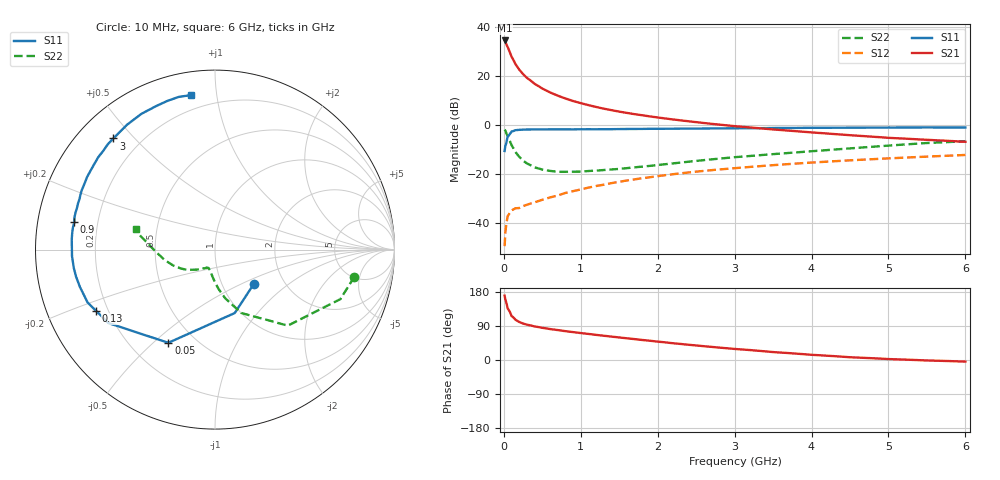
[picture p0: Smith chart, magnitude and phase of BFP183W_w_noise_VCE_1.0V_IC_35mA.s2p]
! Infineon Technologies  Discrete & RF Semiconductors
! BFP183W
! VCE =  1.0 V,  IC =  35 mA
! Common Emitter S-Parameters:  Jan 2017
# GHz  S  MA  R  50
!  f  S11  S21  S12  S22
! GHz  MAG  ANG  MAG  ANG  MAG  ANG  MAG  ANG
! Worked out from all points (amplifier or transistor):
!   77 points, 10 MHz to 6 GHz, reference 50 ohm
!   highest |S21| = 34.3 dB at 10 MHz (marker M1)
!   |S21| within 3 dB of that: start of sweep to 53.97 MHz
!   unconditionally stable (mu >= 1): 378.8 MHz to end of sweep
!   at 130 MHz: K = 0.49, MSG = 30.3 dB, |S12| = -34.5 dB
!   at 2.2 GHz: K = 1.34, MAG = 7.7 dB, |S12| = -20.3 dB
!   at 6 GHz: K = 1.17, MAG = 0.2 dB, |S12| = -12.4 dB
!   lowest NFmin = 1.51 dB at 450 MHz
!   S11 on the Smith chart (normalised r, x): 10 MHz: 1.40, -0.59; 50 MHz: 0.36, -0.56; 130 MHz: 0.15, -0.24; 900 MHz: 0.11, +0.10; 3 GHz: 0.10, +0.44; 6 GHz: 0.12, +0.85
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0.01  0.2893 -42.1  52.13 169.9  0.0033 77.6  0.7912 -11.0
0.02  0.3702 -72.7  49.35 159.2  0.0064 74.0  0.751 -21.6
0.05  0.5806 -116.6  38.13 136.0  0.0136 53.8  0.5867 -46.2
0.1  0.7211 -145.4  24.37 115.9  0.0176 41.8  0.3818 -67.6
0.13  0.7455 -152.8  20.05 111.0  0.0188 38.5  0.3173 -73.1
0.15  0.7683 -157.4  17.29 106.4  0.0196 36.5  0.2765 -78.2
0.2  0.7807 -164.5  13.24 100.4  0.0198 38.0  0.2204 -84.8
0.25  0.7888 -169.1  10.72 96.2  0.0217 40.4  0.1838 -89.7
0.3  0.7933 -172.5  8.976 93.3  0.0231 41.3  0.1613 -93.4
0.4  0.7975 -177.4  6.79 88.5  0.0259 46.0  0.134 -99.1
0.5  0.7975 179.1  5.439 84.9  0.0292 49.5  0.1208 -102.8
0.6  0.8 176.1  4.543 81.7  0.0326 52.7  0.1136 -106.4
0.7  0.8009 173.7  3.895 79.0  0.0356 56.0  0.1088 -108.6
0.9  0.7985 169.0  3.03 73.6  0.0438 58.9  0.1094 -112.3
1.1  0.8039 165.0  2.495 68.8  0.0517 61.2  0.1128 -115.5
1.5  0.81 157.7  1.838 59.5  0.0679 62.1  0.1247 -122.5
2.1  0.8218 146.8  1.333 46.5  0.0929 60.4  0.1554 -134.1
3  0.839 132.4  0.929 29.2  0.1289 55.0  0.2159 -150.6
3.1  0.8403 130.9  0.901 27.7  0.1328 54.4  0.2222 -152.5
4.1  0.8604 117.2  0.675 12.6  0.1715 47.4  0.2934 -170.2
5.1  0.8705 106.8  0.527 1.8  0.2078 39.9  0.3818 174.0
6  0.8711 98.9  0.446 -4.2  0.2399 32.9  0.4561 165.7
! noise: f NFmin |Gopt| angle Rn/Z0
0.45  1.51  0.29  -177  0.1
0.9  1.56  0.32  -176  0.1
1.9  2.05  0.47  -154  0.11
2.4  2.31  0.51  -151  0.16
